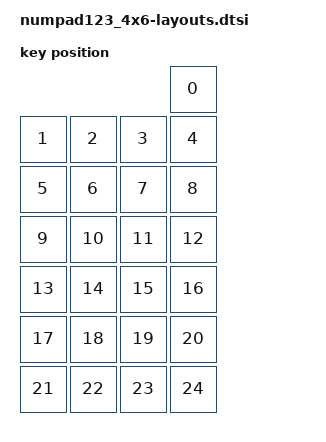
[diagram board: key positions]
#include <physical_layouts.dtsi>

/ {
    physical_layout_numpad123_4x6: physical_layout_numpad123_4x6 {
        compatible = "zmk,physical-layout";
        display-name = "numpad123-4x6";
        keys  //                     w   h    x    y     rot    rx    ry
            = <&key_physical_attrs 100 100  300    0       0   300     0>
            , <&key_physical_attrs 100 100    0  100       0     0   100>
            , <&key_physical_attrs 100 100  100  100       0   100   100>
            , <&key_physical_attrs 100 100  200  100       0   200   100>
            , <&key_physical_attrs 100 100  300  100       0   300   100>
            , <&key_physical_attrs 100 100    0  200       0     0   200>
            , <&key_physical_attrs 100 100  100  200       0   100   200>
            , <&key_physical_attrs 100 100  200  200       0   200   200>
            , <&key_physical_attrs 100 100  300  200       0   300   200>
            , <&key_physical_attrs 100 100    0  300       0     0   300>
            , <&key_physical_attrs 100 100  100  300       0   100   300>
            , <&key_physical_attrs 100 100  200  300       0   200   300>
            , <&key_physical_attrs 100 100  300  300       0   300   300>
            , <&key_physical_attrs 100 100    0  400       0     0   400>
            , <&key_physical_attrs 100 100  100  400       0   100   400>
            , <&key_physical_attrs 100 100  200  400       0   200   400>
            , <&key_physical_attrs 100 100  300  400       0   300   400>
            , <&key_physical_attrs 100 100    0  500       0     0   500>
            , <&key_physical_attrs 100 100  100  500       0   100   500>
            , <&key_physical_attrs 100 100  200  500       0   200   500>
            , <&key_physical_attrs 100 100  300  500       0   300   500>
            , <&key_physical_attrs 100 100    0  600       0     0   600>
            , <&key_physical_attrs 100 100  100  600       0   100   600>
            , <&key_physical_attrs 100 100  200  600       0   200   600>
            , <&key_physical_attrs 100 100  300  600       0   300   600>
            ;
    };
};
